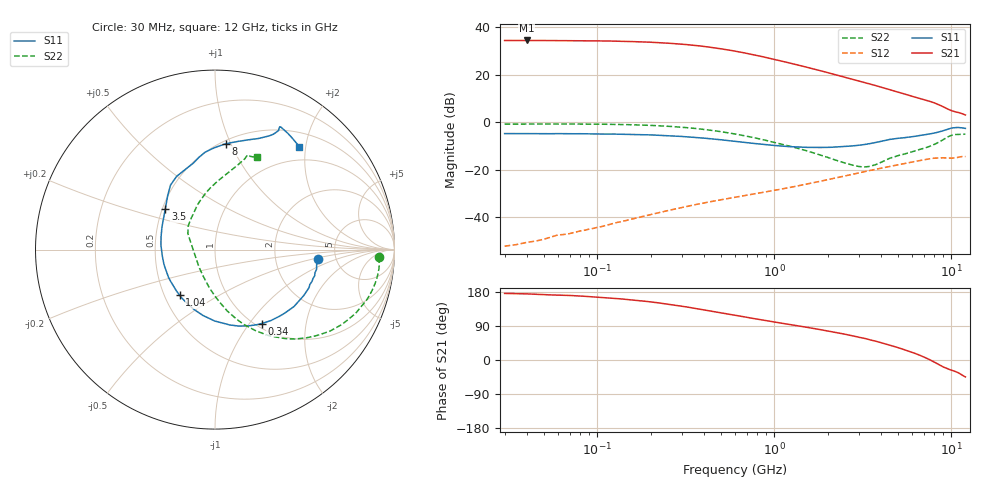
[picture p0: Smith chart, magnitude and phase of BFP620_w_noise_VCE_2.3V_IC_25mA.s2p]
! Infineon Technologies  Discrete & RF Semiconductors
! BFP620
! VCE =  2.3 V,  IC =  25 mA
! Common Emitter S-Parameters:  Nov 2015
# GHz  S  MA  R  50
!  f  S11  S21  S12  S22
! GHz  MAG  ANG  MAG  ANG  MAG  ANG  MAG  ANG
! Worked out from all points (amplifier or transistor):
!   239 points, 30 MHz to 12 GHz, reference 50 ohm
!   highest |S21| = 34.3 dB at 40 MHz (marker M1)
!   |S21| within 3 dB of that: start of sweep to 449.5 MHz
!   unconditionally stable (mu >= 1): 2.637 GHz to end of sweep
!   at 300 MHz: K = 0.39, MSG = 34.3 dB, |S12| = -35.8 dB
!   at 1.88 GHz: K = 0.94, MSG = 23.0 dB, |S12| = -24.6 dB
!   at 12 GHz: K = 1.10, MAG = 6.8 dB, |S12| = -14.4 dB
!   lowest NFmin = 1.05 dB at 450 MHz
!   S11 on the Smith chart (normalised r, x): 30 MHz: 3.65, -0.57; 340 MHz: 1.06, -1.15; 1.04 GHz: 0.60, -0.34; 3.5 GHz: 0.52, +0.27; 8 GHz: 0.53, +0.96; 12 GHz: 0.74, +1.88
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0.03  0.5787 -5.1  52 175.7  0.0025 49.6  0.9139 -2.7
0.04  0.5765 -7.3  52.13 174.5  0.003 54.6  0.9171 -4.0
0.05  0.5723 -8.5  51.94 172.2  0.0035 55.9  0.919 -5.4
0.07  0.572 -13.0  51.81 170.3  0.0046 63.7  0.9186 -8.1
0.085  0.5716 -15.6  51.38 168.1  0.0054 65.9  0.9154 -10.2
0.115  0.564 -21.1  50.79 163.9  0.007 68.6  0.9055 -14.1
0.15  0.557 -27.3  49.67 159.5  0.0089 69.2  0.8897 -18.5
0.2  0.5425 -35.8  47.87 153.3  0.0115 68.5  0.8595 -24.5
0.24  0.5254 -42.4  46.16 148.5  0.0135 67.5  0.8308 -28.9
0.28  0.5095 -48.7  44.42 144.1  0.0153 66.3  0.8008 -33.1
0.34  0.487 -57.8  41.76 137.9  0.0179 64.8  0.7542 -38.8
0.45  0.4462 -72.7  36.88 128.3  0.0219 62.2  0.6694 -48.1
0.6  0.3979 -90.2  31.11 118.0  0.0266 59.8  0.5666 -57.9
0.8  0.3534 -109.4  25.15 107.8  0.032 57.9  0.4582 -67.8
1.04  0.3218 -127.7  20.22 99.0  0.0381 56.6  0.3662 -76.7
1.26  0.306 -141.5  17.02 92.7  0.0436 55.6  0.3053 -83.4
1.64  0.2959 -161.4  13.34 83.8  0.0531 53.7  0.2318 -94.8
2.4  0.3069 169.1  9.202 69.7  0.0719 48.4  0.146 -122.0
3.5  0.358 140.6  6.286 52.8  0.0978 38.7  0.1198 -176.7
4.5  0.4365 124.6  4.808 39.0  0.1183 29.2  0.1761 149.2
8  0.5931 84.2  2.556 -5.6  0.176 -5.8  0.3416 94.9
12  0.7419 50.7  1.417 -44.7  0.1901 -38.5  0.5641 65.7
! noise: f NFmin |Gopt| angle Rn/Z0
0.45  1.05  0.07  -148  0.1
0.9  1.05  0.13  -147  0.1
1.9  1.06  0.16  -140  0.1
2.4  1.09  0.18  -135  0.11
3.5  1.13  0.26  -96  0.15
5.5  1.38  0.31  -84  0.2
10  1.78  0.61  -46  0.85
